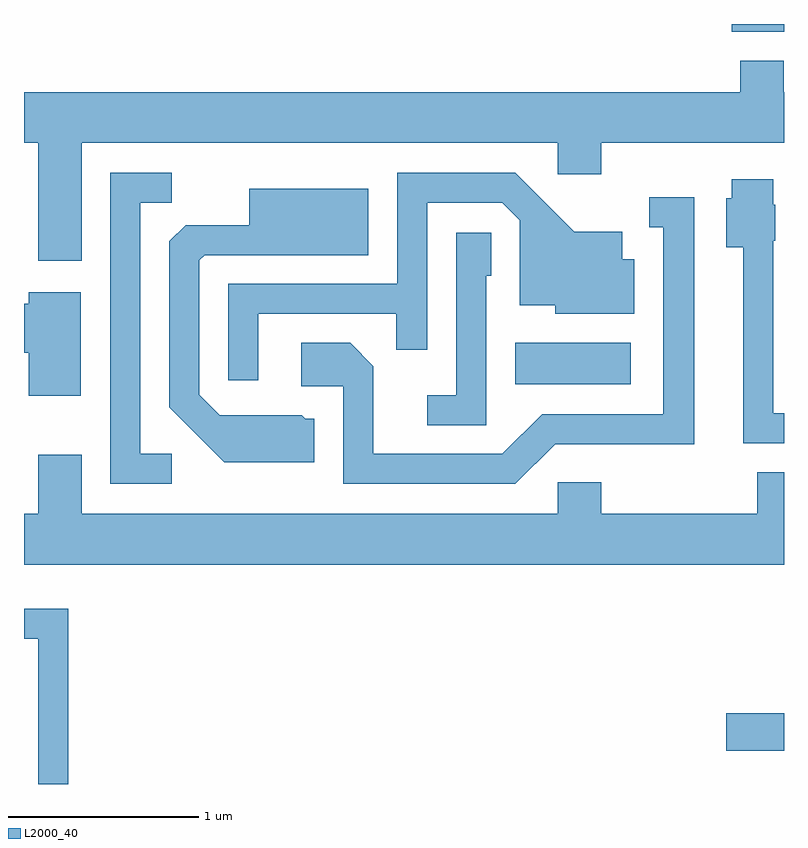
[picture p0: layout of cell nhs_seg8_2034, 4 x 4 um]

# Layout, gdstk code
import gdstk
lib = gdstk.Library(unit=1e-6, precision=1e-09)
def R(c, l, rs):  # rectangles x0, y0, x1, y1
    for r in rs: c.add(gdstk.rectangle(r[:2], r[2:], *l))
def P(c, l, *ps):  # polygons
    for p in ps: c.add(gdstk.Polygon(p, *l))
L2000_40 = (2000, 40)

nhs_seg8_2034 = lib.new_cell('nhs_seg8_2034')
R(nhs_seg8_2034, L2000_40, [(249.306,1866.516,249.611,1866.714), (248.196,1868.446,248.804,1868.664), (249.336,1870.301,249.611,1870.342)])
P(nhs_seg8_2034, L2000_40, [(245.914,1869.716),(248.421,1869.716),(248.421,1869.551),(248.649,1869.551),(248.649,1869.716),(249.611,1869.716),(249.611,1869.984),(249.609,1869.984),(249.609,1870.149),(249.381,1870.149),(249.381,1869.984),(245.611,1869.984),(245.611,1869.716),(245.686,1869.716),(245.686,1869.096),(245.914,1869.096)],
  [(246.844,1868.816),(247.571,1868.816),(247.571,1868.628),(247.734,1868.628),(247.734,1869.401),(248.129,1869.401),(248.221,1869.309),(248.221,1868.861),(248.406,1868.861),(248.406,1868.816),(248.824,1868.816),(248.824,1869.104),(248.759,1869.104),(248.759,1869.249),(248.507,1869.249),(248.197,1869.559),(247.576,1869.559),(247.576,1868.974),(246.686,1868.974),(246.686,1868.468),(246.844,1868.468)],
  [(246.388,1868.079),(246.224,1868.079),(246.224,1869.401),(246.388,1869.401),(246.388,1869.559),(246.066,1869.559),(246.066,1867.921),(246.388,1867.921)],
  [(249.611,1868.294),(249.554,1868.294),(249.554,1869.2),(249.564,1869.2),(249.564,1869.39),(249.554,1869.39),(249.554,1869.524),(249.336,1869.524),(249.336,1869.424),(249.306,1869.424),(249.306,1869.166),(249.396,1869.166),(249.396,1868.136),(249.611,1868.136)],
  [(247.139,1868.264),(247.092,1868.264),(247.072,1868.284),(246.642,1868.284),(246.534,1868.392),(246.534,1869.099),(246.562,1869.126),(247.424,1869.126),(247.424,1869.474),(246.796,1869.474),(246.796,1869.284),(246.462,1869.284),(246.376,1869.199),(246.376,1868.324),(246.664,1868.036),(247.139,1868.036)],
  [(248.407,1868.131),(249.139,1868.131),(249.139,1869.429),(248.903,1869.429),(248.903,1869.271),(248.976,1869.271),(248.976,1868.289),(248.339,1868.289),(248.129,1868.079),(247.449,1868.079),(247.449,1868.542),(247.327,1868.664),(247.071,1868.664),(247.071,1868.436),(247.291,1868.436),(247.291,1867.921),(248.197,1867.921)],
  [(248.044,1869.016),(248.069,1869.016),(248.069,1869.244),(247.886,1869.244),(247.886,1868.389),(247.733,1868.389),(247.733,1868.231),(248.044,1868.231)],
  [(245.909,1868.929),(245.636,1868.929),(245.636,1868.869),(245.611,1868.869),(245.611,1868.611),(245.636,1868.611),(245.636,1868.386),(245.909,1868.386)],
  [(249.611,1867.984),(249.471,1867.984),(249.471,1867.764),(248.649,1867.764),(248.649,1867.929),(248.421,1867.929),(248.421,1867.764),(245.914,1867.764),(245.914,1868.074),(245.686,1868.074),(245.686,1867.764),(245.611,1867.764),(245.611,1867.496),(249.611,1867.496)],
  [(245.844,1867.264),(245.611,1867.264),(245.611,1867.106),(245.686,1867.106),(245.686,1866.342),(245.844,1866.342)])

lib.write_gds('nhs_seg8_2034.gds')
